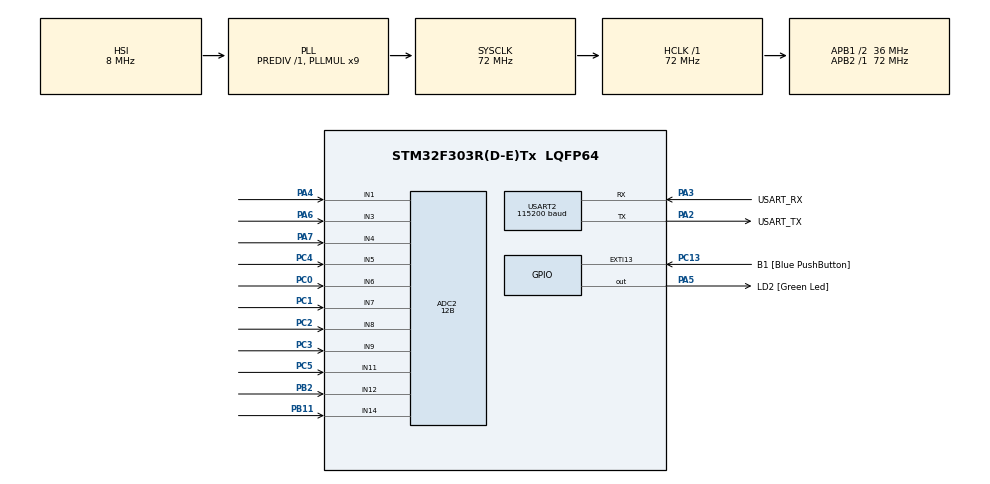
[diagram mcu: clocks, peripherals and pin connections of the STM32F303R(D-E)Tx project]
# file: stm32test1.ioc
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ADC2.Channel-0\#ChannelRegularConversion=ADC_CHANNEL_1
ADC2.Channel-1\#ChannelRegularConversion=ADC_CHANNEL_3
ADC2.Channel-10\#ChannelRegularConversion=ADC_CHANNEL_9
ADC2.Channel-11\#ChannelRegularConversion=ADC_CHANNEL_11
ADC2.Channel-12\#ChannelRegularConversion=ADC_CHANNEL_1
ADC2.Channel-13\#ChannelRegularConversion=ADC_CHANNEL_12
ADC2.Channel-14\#ChannelRegularConversion=ADC_CHANNEL_14
ADC2.Channel-2\#ChannelRegularConversion=ADC_CHANNEL_4
ADC2.Channel-3\#ChannelRegularConversion=ADC_CHANNEL_1
ADC2.Channel-4\#ChannelRegularConversion=ADC_CHANNEL_5
ADC2.Channel-5\#ChannelRegularConversion=ADC_CHANNEL_6
ADC2.Channel-6\#ChannelRegularConversion=ADC_CHANNEL_1
ADC2.Channel-7\#ChannelRegularConversion=ADC_CHANNEL_7
ADC2.Channel-8\#ChannelRegularConversion=ADC_CHANNEL_8
ADC2.Channel-9\#ChannelRegularConversion=ADC_CHANNEL_1
ADC2.ClockPrescaler=ADC_CLOCK_ASYNC_DIV1
ADC2.ContinuousConvMode=ENABLE
ADC2.DMAContinuousRequests=ENABLE
ADC2.DataAlign=ADC_DATAALIGN_RIGHT
ADC2.DiscontinuousConvMode=DISABLE
ADC2.EOCSelection=ADC_EOC_SEQ_CONV
ADC2.EnableAnalogWatchDog1=false
ADC2.EnableAnalogWatchDog2=false
ADC2.EnableAnalogWatchDog3=false
ADC2.EnableInjectedConversion=ENABLE
ADC2.EnableRegularConversion=ENABLE
ADC2.ExternalTrigConv=ADC_SOFTWARE_START
ADC2.ExternalTrigConvEdge=ADC_EXTERNALTRIGCONVEDGE_NONE
ADC2.InjNumberOfConversion=0
ADC2.LowPowerAutoWait=DISABLE
ADC2.NbrOfConversion=15
ADC2.NbrOfConversionFlag=1
ADC2.Offset-0\#ChannelRegularConversion=0
ADC2.Offset-1\#ChannelRegularConversion=0
ADC2.Offset-10\#ChannelRegularConversion=0
ADC2.Offset-11\#ChannelRegularConversion=0
ADC2.Offset-12\#ChannelRegularConversion=0
ADC2.Offset-13\#ChannelRegularConversion=0
ADC2.Offset-14\#ChannelRegularConversion=0
ADC2.Offset-2\#ChannelRegularConversion=0
ADC2.Offset-3\#ChannelRegularConversion=0
ADC2.Offset-4\#ChannelRegularConversion=0
ADC2.Offset-5\#ChannelRegularConversion=0
ADC2.Offset-6\#ChannelRegularConversion=0
ADC2.Offset-7\#ChannelRegularConversion=0
ADC2.Offset-8\#ChannelRegularConversion=0
ADC2.Offset-9\#ChannelRegularConversion=0
ADC2.OffsetNumber-0\#ChannelRegularConversion=ADC_OFFSET_NONE
ADC2.OffsetNumber-1\#ChannelRegularConversion=ADC_OFFSET_NONE
ADC2.OffsetNumber-10\#ChannelRegularConversion=ADC_OFFSET_NONE
ADC2.OffsetNumber-11\#ChannelRegularConversion=ADC_OFFSET_NONE
ADC2.OffsetNumber-12\#ChannelRegularConversion=ADC_OFFSET_NONE
ADC2.OffsetNumber-13\#ChannelRegularConversion=ADC_OFFSET_NONE
ADC2.OffsetNumber-14\#ChannelRegularConversion=ADC_OFFSET_NONE
ADC2.OffsetNumber-2\#ChannelRegularConversion=ADC_OFFSET_NONE
ADC2.OffsetNumber-3\#ChannelRegularConversion=ADC_OFFSET_NONE
ADC2.OffsetNumber-4\#ChannelRegularConversion=ADC_OFFSET_NONE
ADC2.OffsetNumber-5\#ChannelRegularConversion=ADC_OFFSET_NONE
ADC2.OffsetNumber-6\#ChannelRegularConversion=ADC_OFFSET_NONE
ADC2.OffsetNumber-7\#ChannelRegularConversion=ADC_OFFSET_NONE
ADC2.OffsetNumber-8\#ChannelRegularConversion=ADC_OFFSET_NONE
ADC2.OffsetNumber-9\#ChannelRegularConversion=ADC_OFFSET_NONE
ADC2.Overrun=ADC_OVR_DATA_OVERWRITTEN
ADC2.Rank-0\#ChannelRegularConversion=1
ADC2.Rank-1\#ChannelRegularConversion=2
ADC2.Rank-10\#ChannelRegularConversion=11
ADC2.Rank-11\#ChannelRegularConversion=12
ADC2.Rank-12\#ChannelRegularConversion=13
ADC2.Rank-13\#ChannelRegularConversion=14
ADC2.Rank-14\#ChannelRegularConversion=15
ADC2.Rank-2\#ChannelRegularConversion=3
ADC2.Rank-3\#ChannelRegularConversion=4
ADC2.Rank-4\#ChannelRegularConversion=5
ADC2.Rank-5\#ChannelRegularConversion=6
ADC2.Rank-6\#ChannelRegularConversion=7
ADC2.Rank-7\#ChannelRegularConversion=8
ADC2.Rank-8\#ChannelRegularConversion=9
ADC2.Rank-9\#ChannelRegularConversion=10
ADC2.Resolution=ADC_RESOLUTION_12B
ADC2.SamplingTime-0\#ChannelRegularConversion=ADC_SAMPLETIME_1CYCLE_5
ADC2.SamplingTime-1\#ChannelRegularConversion=ADC_SAMPLETIME_1CYCLE_5
ADC2.SamplingTime-10\#ChannelRegularConversion=ADC_SAMPLETIME_1CYCLE_5
ADC2.SamplingTime-11\#ChannelRegularConversion=ADC_SAMPLETIME_1CYCLE_5
ADC2.SamplingTime-12\#ChannelRegularConversion=ADC_SAMPLETIME_1CYCLE_5
ADC2.SamplingTime-13\#ChannelRegularConversion=ADC_SAMPLETIME_1CYCLE_5
ADC2.SamplingTime-14\#ChannelRegularConversion=ADC_SAMPLETIME_1CYCLE_5
ADC2.SamplingTime-2\#ChannelRegularConversion=ADC_SAMPLETIME_1CYCLE_5
ADC2.SamplingTime-3\#ChannelRegularConversion=ADC_SAMPLETIME_1CYCLE_5
ADC2.SamplingTime-4\#ChannelRegularConversion=ADC_SAMPLETIME_1CYCLE_5
ADC2.SamplingTime-5\#ChannelRegularConversion=ADC_SAMPLETIME_1CYCLE_5
ADC2.SamplingTime-6\#ChannelRegularConversion=ADC_SAMPLETIME_1CYCLE_5
ADC2.SamplingTime-7\#ChannelRegularConversion=ADC_SAMPLETIME_1CYCLE_5
ADC2.SamplingTime-8\#ChannelRegularConversion=ADC_SAMPLETIME_1CYCLE_5
ADC2.SamplingTime-9\#ChannelRegularConversion=ADC_SAMPLETIME_1CYCLE_5
ADC2.ScanConvMode=ADC_SCAN_ENABLE
Dma.ADC2.0.Direction=DMA_PERIPH_TO_MEMORY
Dma.ADC2.0.Instance=DMA2_Channel1
Dma.ADC2.0.MemDataAlignment=DMA_MDATAALIGN_HALFWORD
Dma.ADC2.0.MemInc=DMA_MINC_ENABLE
Dma.ADC2.0.Mode=DMA_CIRCULAR
Dma.ADC2.0.PeriphDataAlignment=DMA_PDATAALIGN_HALFWORD
Dma.ADC2.0.PeriphInc=DMA_PINC_DISABLE
Dma.ADC2.0.Priority=DMA_PRIORITY_HIGH
Dma.Request0=ADC2
Mcu.Family=STM32F3
Mcu.Name=STM32F303R(D-E)Tx
Mcu.Package=LQFP64
NVIC.DMA2_Channel1_IRQn=true\:0\:0\:false\:false\:true\:false
NVIC.PriorityGroup=NVIC_PRIORITYGROUP_0
PA13.GPIO_Label=TMS
PA13.Mode=Serial_Wire
PA13.Signal=SYS_JTMS-SWDIO
PA14.GPIO_Label=TCK
PA14.Mode=Serial_Wire
PA14.Signal=SYS_JTCK-SWCLK
PA2.GPIO_Label=USART_TX
PA2.GPIO_Mode=GPIO_MODE_AF_PP
PA2.GPIO_PuPd=GPIO_NOPULL
PA2.GPIO_Speed=GPIO_SPEED_FREQ_LOW
PA2.Mode=Asynchronous
PA2.Signal=USART2_TX
PA3.GPIO_Label=USART_RX
PA3.GPIO_Mode=GPIO_MODE_AF_PP
PA3.GPIO_PuPd=GPIO_NOPULL
PA3.GPIO_Speed=GPIO_SPEED_FREQ_LOW
PA3.Mode=Asynchronous
PA3.Signal=USART2_RX
PA4.Mode=IN1-Single-Ended
PA4.Signal=ADC2_IN1
PA5.GPIO_Label=LD2 [Green Led]
PA5.GPIO_Mode=GPIO_MODE_OUTPUT_PP
PA5.GPIO_PuPd=GPIO_NOPULL
PA5.GPIO_Speed=GPIO_SPEED_FREQ_LOW
PA5.Signal=GPIO_Output
PA6.Mode=IN3-Single-Ended
PA6.Signal=ADC2_IN3
PA7.Mode=IN4-Single-Ended
PA7.Signal=ADC2_IN4
PB11.Mode=IN14-Single-Ended
PB11.Signal=ADC2_IN14
PB2.Mode=IN12-Single-Ended
PB2.Signal=ADC2_IN12
PB3.GPIO_Label=SWO
PB3.Signal=SYS_JTDO-TRACESWO
PC0.Signal=ADCx_IN6
PC1.Signal=ADCx_IN7
PC13.GPIO_Label=B1 [Blue PushButton]
PC13.GPIO_ModeDefaultEXTI=GPIO_MODE_IT_FALLING
PC13.Signal=GPXTI13
PC14-OSC32_IN.Mode=LSE-External-Oscillator
PC14-OSC32_IN.Signal=RCC_OSC32_IN
PC15-OSC32_OUT.Mode=LSE-External-Oscillator
PC15-OSC32_OUT.Signal=RCC_OSC32_OUT
PC2.Signal=ADCx_IN8
PC3.Signal=ADCx_IN9
PC4.Mode=IN5-Single-Ended
PC4.Signal=ADC2_IN5
PC5.Mode=IN11-Single-Ended
PC5.Signal=ADC2_IN11
PF0-OSC_IN.Mode=HSE-External-Clock-Source
PF0-OSC_IN.Signal=RCC_OSC_IN
PF1-OSC_OUT.Signal=RCC_OSC_OUT
ProjectManager.HeapSize=0x200
ProjectManager.StackSize=0x400
ProjectManager.TargetToolchain=Makefile
RCC.AHBFreq_Value=72000000
RCC.APB1CLKDivider=RCC_HCLK_DIV2
RCC.APB1Freq_Value=36000000
RCC.APB1TimFreq_Value=72000000
RCC.APB2Freq_Value=72000000
RCC.APB2TimFreq_Value=72000000
RCC.CortexFreq_Value=72000000
RCC.HCLKFreq_Value=72000000
RCC.HSE_VALUE=8000000
RCC.HSI_VALUE=8000000
RCC.PLLM=8
RCC.PLLMUL=RCC_PLL_MUL9
RCC.PLLN=336
RCC.PLLP=RCC_PLLP_DIV4
RCC.PLLQ=7
RCC.RCC_PLLsource_Clock_Source_FROM_HSE=RCC_HSE_PREDIV_DIV2
RCC.SYSCLKFreq_VALUE=72000000
RCC.SYSCLKSourceVirtual=RCC_SYSCLKSOURCE_PLLCLK
RCC.USBFreq_Value=72000000
SH.ADCx_IN6.0=ADC2_IN6,IN6-Single-Ended
SH.ADCx_IN7.0=ADC2_IN7,IN7-Single-Ended
SH.ADCx_IN8.0=ADC2_IN8,IN8-Single-Ended
SH.ADCx_IN9.0=ADC2_IN9,IN9-Single-Ended
USART2.BaudRate=115200
USART2.VirtualMode-Asynchronous=VM_ASYNC
USART2.WordLength=WORDLENGTH_8B
board=NUCLEO-F303RE

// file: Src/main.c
/**
  ******************************************************************************
  * @file           : main.c
  * @brief          : Main program body
  ******************************************************************************
  ** This notice applies to any and all portions of this file
  * that are not between comment pairs USER CODE BEGIN and
  * USER CODE END. Other portions of this file, whether
  * inserted by the user or by software development tools
  * are owned by their respective copyright owners.
  *
  * COPYRIGHT(c) 2018 STMicroelectronics
  *
  * Redistribution and use in source and binary forms, with or without modification,
  * are permitted provided that the following conditions are met:
  *   1. Redistributions of source code must retain the above copyright notice,
  *      this list of conditions and the following disclaimer.
  *   2. Redistributions in binary form must reproduce the above copyright notice,
  *      this list of conditions and the following disclaimer in the documentation
  *      and/or other materials provided with the distribution.
  *   3. Neither the name of STMicroelectronics nor the names of its contributors
  *      may be used to endorse or promote products derived from this software
  *      without specific prior written permission.
  *
  * THIS SOFTWARE IS PROVIDED BY THE COPYRIGHT HOLDERS AND CONTRIBUTORS "AS IS"
  * AND ANY EXPRESS OR IMPLIED WARRANTIES, INCLUDING, BUT NOT LIMITED TO, THE
  * IMPLIED WARRANTIES OF MERCHANTABILITY AND FITNESS FOR A PARTICULAR PURPOSE ARE
  * DISCLAIMED. IN NO EVENT SHALL THE COPYRIGHT HOLDER OR CONTRIBUTORS BE LIABLE
  * FOR ANY DIRECT, INDIRECT, INCIDENTAL, SPECIAL, EXEMPLARY, OR CONSEQUENTIAL
  * DAMAGES (INCLUDING, BUT NOT LIMITED TO, PROCUREMENT OF SUBSTITUTE GOODS OR
  * SERVICES; LOSS OF USE, DATA, OR PROFITS; OR BUSINESS INTERRUPTION) HOWEVER
  * CAUSED AND ON ANY THEORY OF LIABILITY, WHETHER IN CONTRACT, STRICT LIABILITY,
  * OR TORT (INCLUDING NEGLIGENCE OR OTHERWISE) ARISING IN ANY WAY OUT OF THE USE
  * OF THIS SOFTWARE, EVEN IF ADVISED OF THE POSSIBILITY OF SUCH DAMAGE.
  *
  ******************************************************************************
  */
#include "main.h"
#include "stm32f3xx_hal.h"
#include "adc.h"
#include "dma.h"
#include "usart.h"
#include "gpio.h"

char log_buffer[100];

/* USER CODE BEGIN PV */
/* Private variables ---------------------------------------------------------*/

/* USER CODE END PV */

void SystemClock_Config(void);

/* USER CODE BEGIN PFP */
/* Private function prototypes -----------------------------------------------*/

/* USER CODE END PFP */

int main(void)
{

  /* MCU Configuration----------------------------------------------------------*/

  /* Reset of all peripherals, Initializes the Flash interface and the Systick. */
  HAL_Init();

  /* Configure the system clock */
  SystemClock_Config();

  /* Initialize all configured peripherals */
  MX_GPIO_Init();
  MX_DMA_Init();
  MX_USART2_UART_Init();
  MX_ADC2_Init();
  /* USER CODE BEGIN 2 */
/* USER CODE BEGIN 2 */

  HAL_GPIO_WritePin(LD2_GPIO_Port, LD2_Pin, GPIO_PIN_SET);      // LED on

  snprintf(log_buffer, sizeof(log_buffer),
	   "\nOEM ADC Demo 1.0\n");
  debug_printf(log_buffer);
  calibrate_ADC2();
  start_ADC2();

  /* USER CODE END 2 */
  /* USER CODE END 2 */

  /* Infinite loop */
  /* USER CODE BEGIN WHILE */
  while (1)
  {
    if (adc2_half_conv_complete && !adc2_half_conv_overrun) {
      HAL_GPIO_WritePin(LD2_GPIO_Port, LD2_Pin, GPIO_PIN_RESET);      // LED off
      adc2_half_conv_complete = false;                                // ready for the next batch
    }

    if (adc2_full_conv_complete && !adc2_full_conv_overrun) {
      HAL_GPIO_WritePin(LD2_GPIO_Port, LD2_Pin, GPIO_PIN_SET);        // LED on
      adc2_full_conv_complete = false;
    }
    //
    // See if we've overrun and lost our place.
    //
    if (adc2_half_conv_overrun || adc2_full_conv_overrun) {
      snprintf(log_buffer, sizeof(log_buffer), "Data overrun!!!\n");
      debug_printf(log_buffer);
      adc2_full_conv_complete = adc2_half_conv_complete =
	adc2_full_conv_overrun = adc2_half_conv_overrun = false;
    }

  /* USER CODE END WHILE */

  }

}

void SystemClock_Config(void)
{

  RCC_OscInitTypeDef RCC_OscInitStruct;
  RCC_ClkInitTypeDef RCC_ClkInitStruct;
  RCC_PeriphCLKInitTypeDef PeriphClkInit;

    /**Initializes the CPU, AHB and APB busses clocks
    */
  RCC_OscInitStruct.OscillatorType = RCC_OSCILLATORTYPE_HSI;
  RCC_OscInitStruct.HSIState = RCC_HSI_ON;
  RCC_OscInitStruct.HSICalibrationValue = 16;
  RCC_OscInitStruct.PLL.PLLState = RCC_PLL_ON;
  RCC_OscInitStruct.PLL.PLLSource = RCC_PLLSOURCE_HSI;
  RCC_OscInitStruct.PLL.PLLMUL = RCC_PLL_MUL9;
  RCC_OscInitStruct.PLL.PREDIV = RCC_PREDIV_DIV1;
  if (HAL_RCC_OscConfig(&RCC_OscInitStruct) != HAL_OK)
  {
    _Error_Handler(__FILE__, __LINE__);
  }

    /**Initializes the CPU, AHB and APB busses clocks
    */
  RCC_ClkInitStruct.ClockType = RCC_CLOCKTYPE_HCLK|RCC_CLOCKTYPE_SYSCLK
                              |RCC_CLOCKTYPE_PCLK1|RCC_CLOCKTYPE_PCLK2;
  RCC_ClkInitStruct.SYSCLKSource = RCC_SYSCLKSOURCE_PLLCLK;
  RCC_ClkInitStruct.AHBCLKDivider = RCC_SYSCLK_DIV1;
  RCC_ClkInitStruct.APB1CLKDivider = RCC_HCLK_DIV2;
  RCC_ClkInitStruct.APB2CLKDivider = RCC_HCLK_DIV1;

  if (HAL_RCC_ClockConfig(&RCC_ClkInitStruct, FLASH_LATENCY_2) != HAL_OK)
  {
    _Error_Handler(__FILE__, __LINE__);
  }

  PeriphClkInit.PeriphClockSelection = RCC_PERIPHCLK_USART2|RCC_PERIPHCLK_ADC12;
  PeriphClkInit.Usart2ClockSelection = RCC_USART2CLKSOURCE_PCLK1;
  PeriphClkInit.Adc12ClockSelection = RCC_ADC12PLLCLK_DIV1;
  if (HAL_RCCEx_PeriphCLKConfig(&PeriphClkInit) != HAL_OK)
  {
    _Error_Handler(__FILE__, __LINE__);
  }

    /**Configure the Systick interrupt time
    */
  HAL_SYSTICK_Config(HAL_RCC_GetHCLKFreq()/1000);

    /**Configure the Systick
    */
  HAL_SYSTICK_CLKSourceConfig(SYSTICK_CLKSOURCE_HCLK);

  /* SysTick_IRQn interrupt configuration */
  HAL_NVIC_SetPriority(SysTick_IRQn, 0, 0);
}

void _Error_Handler(char *file, int line)
{
  while(1)
  {
  }
}

/************************ (C) COPYRIGHT STMicroelectronics *****END OF FILE****/
